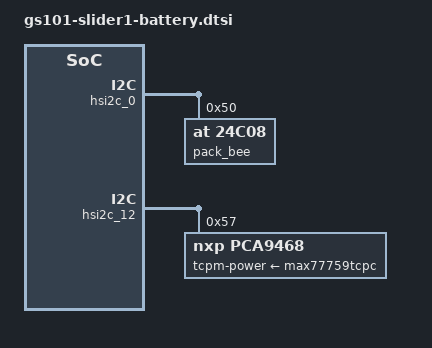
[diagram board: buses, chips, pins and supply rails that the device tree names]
// SPDX-License-Identifier: GPL-2.0-only
/*
 * Battery device tree entries specific to slider v1
 *
 * Copyright 2020 Google LLC
 *
 */

/ {
	fragment@gcpm {
		target-path = "/";
		__overlay__ {

			google,cpm {
				google,chg-power-supplies = "main-charger",
							    "pca9468-mains";

				pinctrl-names = "default";
				pinctrl-0 = <&charge_pump_en>;

				google,dc-en = <&gpp23 7 0>;
				google,dc-en-value = <1>;

				google,tcpm-power-supply = <&max77759tcpc>;
				google,pps-awake;
			};
		};
	};
};

&pinctrl_5 {
	/* XAPC_USI12_CTSN_CSN -> CHARGE_PUMP_EN_R */
	charge_pump_en: charge-pump-en {
		samsung,pins = "gpp23-7";
		samsung,pin-function = <EXYNOS_PIN_FUNC_OUTPUT>;
		samsung,pin-pud = <EXYNOS_PIN_PULL_NONE>;
		samsung,pin-drv = <EXYNOS4_PIN_DRV_LV1>;
	};
};

&hsi2c_0 {
	#address-cells = <1>;
	#size-cells = <0>;
	status = "okay";

	pinctrl-names = "default";
	pinctrl-0 = <&hsi2c0_bus>;

	pack_bee: m24c08@50 {
		status = "okay";
		compatible = "at,24c08";

		reg = <0x50>;
	};
};

&hsi2c_12 {

	#address-cells = <1>;
	#size-cells = <0>;
	status = "okay";

	pca9468@57 {
		compatible = "nxp,pca9468";
		reg = <0x57>;

		/* TODO: add IRQ pca9468,irq-gpio = <xxx>; */

		pca9468,input-current-limit = <2000000>; /* 2.0A */
		pca9468,charging-current = <4000000>; /* 4A */
		pca9468,float-voltage = <4300000>; /* 4.3V */

		pca9468,input-itopoff = <500000>; /* 500mA */
		pca9468,sense-resistance = <0>; /* 5mOhm */
		pca9468,switching-frequency = <3>; /* 980KHz */

		/* disable USBC NTC */
		pca9468,ntc-threshold = <0>; /* disabled */

		/* enable passthrough PPS */
		google,tcpm-power-supply = <&max77759tcpc>;

		/* USBC thermal zone */
		google,usb-port-tz-name = "usbc-therm-adc";
	};
};
